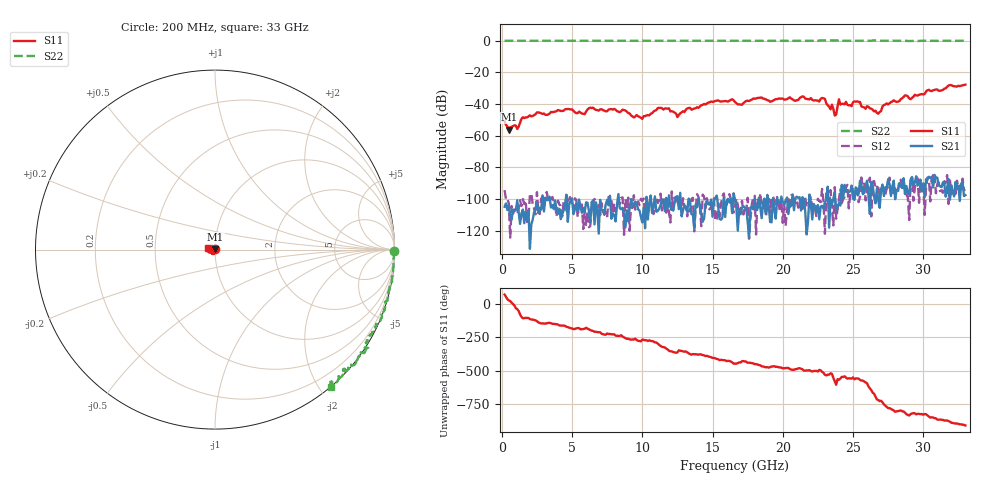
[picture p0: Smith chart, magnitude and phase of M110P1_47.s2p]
# GHZ S RI R 50
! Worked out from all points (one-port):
!   329 points, 200 MHz to 33 GHz, reference 50 ohm
!   lowest |S11| = -56.2 dB at 500 MHz (marker M1), VSWR 1.00, Z = 50.1 + j0.0676 ohm
!   |S11| at or under -10 dB: start of sweep to end of sweep
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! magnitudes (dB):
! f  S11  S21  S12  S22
! 200 MHz  -51.1  -105.0  -94.4  0.0
! 500 MHz  -56.2  -104.1  -103.0  0.0
! 2.5 GHz  -45.4  -102.1  -95.7  0.0
! 5.7 GHz  -46.0  -108.8  -103.6  0.0
! 6.3 GHz  -42.3  -114.9  -117.2  0.0
! 8 GHz  -43.1  -110.1  -103.0  0.0
! 10 GHz  -49.4  -114.9  -101.4  0.0
! 11.2 GHz  -42.5  -106.3  -101.1  0.0
! 12.5 GHz  -48.3  -98.3  -101.7  -0.1
! 14.9 GHz  -38.5  -100.4  -105.2  0.0
! 16.6 GHz  -38.7  -100.2  -105.0  -0.1
! 22.1 GHz  -37.5  -113.0  -105.8  -0.1
! 23 GHz  -36.8  -102.1  -122.0  0.0
! 23.4 GHz  -43.4  -100.3  -94.4  0.1
! 23.5 GHz  -40.5  -103.6  -106.0  0.1
! 23.7 GHz  -47.3  -95.7  -92.6  0.1
! 24 GHz  -37.1  -102.6  -99.9  -0.1
! 24.9 GHz  -41.4  -91.6  -95.8  0.0
! 25.5 GHz  -38.8  -88.5  -98.8  0.0
! 26.8 GHz  -46.2  -101.1  -93.0  0.0
! 27.6 GHz  -39.6  -90.6  -86.5  -0.1
! 33 GHz  -27.8  -97.6  -94.3  0.0
